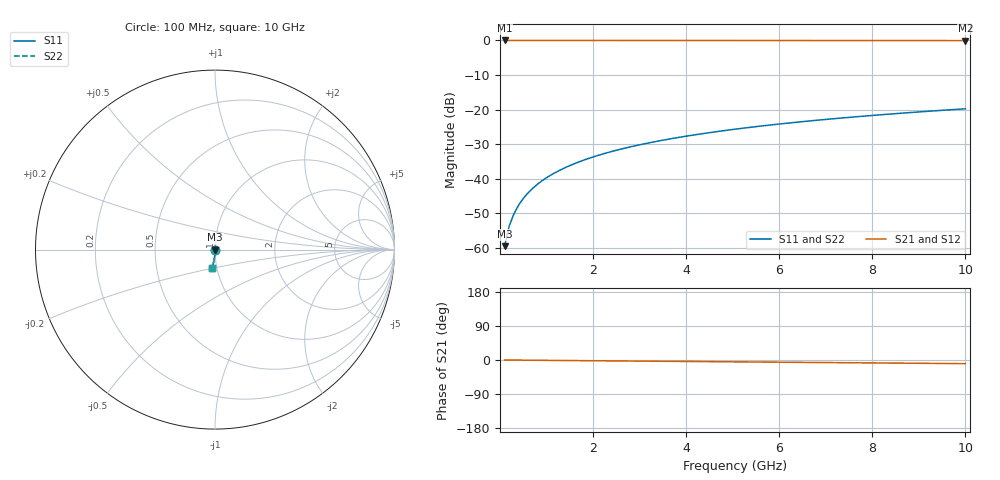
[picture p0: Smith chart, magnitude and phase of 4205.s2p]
# Hz S RI R 50.00
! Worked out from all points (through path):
!   100 points, 100 MHz to 10 GHz, reference 50 ohm
!   highest |S21| = 0.00 dB at 100 MHz (marker M1); lowest = 0.0 dB at 10 GHz (marker M2)
!   group delay of S21, straight-line fit = 2.68 ps
!   lowest |S11| = -59.6 dB at 100 MHz (marker M3), VSWR 1.00, Z = 50 - j0.103 ohm
!   |S11| at or under -10 dB: start of sweep to end of sweep
!   |S22| runs from -59.6 to -19.8 dB; largest |S21 - S12| = 0
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1e8  0.000216 -0.00103  0.9998 -0.00168  0.9998 -0.00168  0.000216 -0.00103
2e8  0.000211 -0.00205  0.9998 -0.00336  0.9998 -0.00336  0.000211 -0.00205
3e8  0.000202 -0.00308  0.9998 -0.00504  0.9998 -0.00504  0.000202 -0.00308
4e8  0.00019 -0.00411  0.9997 -0.00672  0.9997 -0.00672  0.00019 -0.00411
5e8  0.000174 -0.00513  0.9997 -0.00839  0.9997 -0.00839  0.000174 -0.00513
6e8  0.000154 -0.00616  0.9997 -0.0101  0.9997 -0.0101  0.000154 -0.00616
7e8  0.000131 -0.00719  0.9997 -0.0118  0.9997 -0.0118  0.000131 -0.00719
8e8  0.000104 -0.00822  0.9996 -0.0134  0.9996 -0.0134  0.000104 -0.00822
9e8  7.44e-05 -0.00924  0.9996 -0.0151  0.9996 -0.0151  7.44e-05 -0.00924
1.1e9  3.79e-06 -0.0113  0.9995 -0.0185  0.9995 -0.0185  3.79e-06 -0.0113
1.4e9  -0.000128 -0.0144  0.9994 -0.0235  0.9994 -0.0235  -0.000128 -0.0144
1.8e9  -0.000352 -0.0185  0.9991 -0.0302  0.9991 -0.0302  -0.000352 -0.0185
2.1e9  -0.000557 -0.0216  0.9989 -0.0353  0.9989 -0.0353  -0.000557 -0.0216
2.5e9  -0.000878 -0.0257  0.9985 -0.042  0.9985 -0.042  -0.000878 -0.0257
2.9e9  -0.00125 -0.0298  0.9981 -0.0487  0.9981 -0.0487  -0.00125 -0.0298
3.4e9  -0.0018 -0.0349  0.9975 -0.057  0.9975 -0.057  -0.0018 -0.0349
4.2e9  -0.00286 -0.043  0.9963 -0.0704  0.9963 -0.0704  -0.00286 -0.043
5.1e9  -0.00431 -0.0522  0.9947 -0.0855  0.9947 -0.0855  -0.00431 -0.0522
5.9e9  -0.00583 -0.0603  0.9929 -0.0988  0.9929 -0.0988  -0.00583 -0.0603
6.7e9  -0.00757 -0.0683  0.991 -0.1121  0.991 -0.1121  -0.00757 -0.0683
8.4e9  -0.012 -0.0853  0.986 -0.1402  0.986 -0.1402  -0.012 -0.0853
1e10  -0.017 -0.101  0.9803 -0.1664  0.9803 -0.1664  -0.017 -0.101
